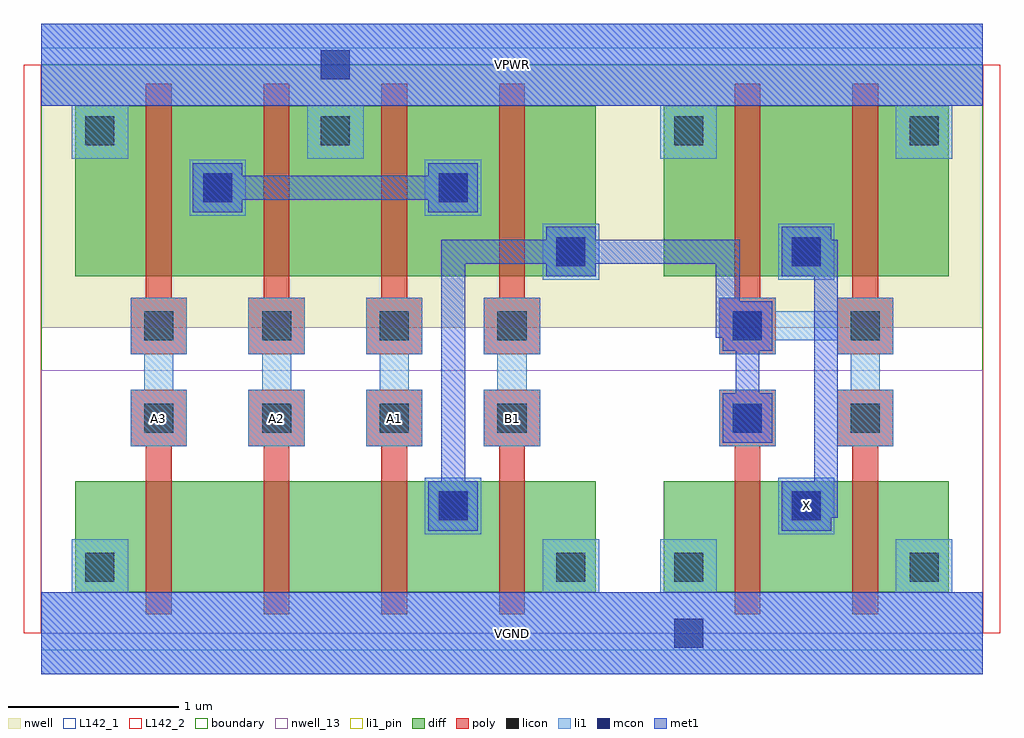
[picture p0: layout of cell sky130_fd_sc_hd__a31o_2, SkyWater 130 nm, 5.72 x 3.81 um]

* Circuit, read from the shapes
.subckt sky130_fd_sc_hd__a31o_2 A1 A2 A3 B1 VGND VPWR X
XM1 n1 A3 VGND VSUBS sky130_fd_pr__nfet_01v8 w=0.65 l=0.15
XM2 n2 A2 n1 VSUBS sky130_fd_pr__nfet_01v8 w=0.65 l=0.15
XM3 n3 A1 n2 VSUBS sky130_fd_pr__nfet_01v8 w=0.65 l=0.15
XM4 VGND B1 n3 VSUBS sky130_fd_pr__nfet_01v8 w=0.65 l=0.15
XM5 X n3 VGND VSUBS sky130_fd_pr__nfet_01v8 w=0.65 l=0.15 m=2
XM6 n4 A3 VPWR n5 sky130_fd_pr__pfet_01v8 w=1 l=0.15
XM7 VPWR A2 n4 n5 sky130_fd_pr__pfet_01v8 w=1 l=0.15
XM8 n4 A1 VPWR n5 sky130_fd_pr__pfet_01v8 w=1 l=0.15
XM9 n3 B1 n4 n5 sky130_fd_pr__pfet_01v8 w=1 l=0.15
XM10 X n3 VPWR n5 sky130_fd_pr__pfet_01v8 w=1 l=0.15 m=2
.ends

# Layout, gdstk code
import gdstk
lib = gdstk.Library(unit=1e-6, precision=1e-09)
def R(c, l, rs):  # rectangles x0, y0, x1, y1
    for r in rs: c.add(gdstk.rectangle(r[:2], r[2:], *l))
def A(c, l, x, y, w, h, nx, ny, dx, dy):  # array of equal rectangles
    R(c, l, [(x+i*dx, y+j*dy, x+i*dx+w, y+j*dy+h) for i in range(nx) for j in range(ny)])
def P(c, l, *ps):  # polygons
    for p in ps: c.add(gdstk.Polygon(p, *l))
nwell_13 = (64, 13)
nwell = (64, 20)
diff = (65, 20)
poly = (66, 20)
licon = (66, 44)
li1_pin = (67, 16)
li1 = (67, 20)
mcon = (67, 44)
met1 = (68, 20)
L142_1 = (142, 1)
L142_2 = (142, 2)
boundary = (235, 4)

sky130_fd_sc_hd__a31o_2 = lib.new_cell('sky130_fd_sc_hd__a31o_2')
R(sky130_fd_sc_hd__a31o_2, nwell_13, [(0,0,5.52,1.54)])
R(sky130_fd_sc_hd__a31o_2, nwell, [(0,1.79,5.52,3.33)])
A(sky130_fd_sc_hd__a31o_2, diff, 0.615, 0.24, 0.69, 0.65, 3, 1, 0.69, 0)
A(sky130_fd_sc_hd__a31o_2, diff, 0.615, 2.09, 0.69, 1, 3, 1, 0.69, 0)
R(sky130_fd_sc_hd__a31o_2, diff, [(0.2,0.24,3.25,0.89), (0.2,0.24,0.615,0.89), (2.685,0.24,3.25,0.89), (3.65,0.24,5.32,0.89), (3.65,0.24,4.065,0.89), (4.065,0.24,4.755,0.89), (4.755,0.24,5.32,0.89), (0.2,2.09,3.25,3.09), (0.2,2.09,0.615,3.09), (2.685,2.09,3.25,3.09), (3.65,2.09,5.32,3.09), (3.65,2.09,4.065,3.09), (4.065,2.09,4.755,3.09), (4.755,2.09,5.32,3.09)])
P(sky130_fd_sc_hd__a31o_2, poly, [(4.065,0.11),(4.065,1.095),(3.975,1.095),(3.975,1.425),(4.305,1.425),(4.305,1.095),(4.215,1.095),(4.215,0.11)],
  [(4.755,0.11),(4.755,1.095),(4.665,1.095),(4.665,1.425),(4.995,1.425),(4.995,1.095),(4.905,1.095),(4.905,0.11)],
  [(3.975,1.635),(3.975,1.965),(4.065,1.965),(4.065,3.22),(4.215,3.22),(4.215,1.965),(4.305,1.965),(4.305,1.635)],
  [(4.665,1.635),(4.665,1.965),(4.755,1.965),(4.755,3.22),(4.905,3.22),(4.905,1.965),(4.995,1.965),(4.995,1.635)],
  [(1.305,0.11),(1.305,1.095),(1.215,1.095),(1.215,1.425),(1.545,1.425),(1.545,1.095),(1.455,1.095),(1.455,0.11)],
  [(1.215,1.635),(1.215,1.965),(1.305,1.965),(1.305,3.22),(1.455,3.22),(1.455,1.965),(1.545,1.965),(1.545,1.635)],
  [(1.995,0.11),(1.995,1.095),(1.905,1.095),(1.905,1.425),(2.235,1.425),(2.235,1.095),(2.145,1.095),(2.145,0.11)],
  [(1.905,1.635),(1.905,1.965),(1.995,1.965),(1.995,3.22),(2.145,3.22),(2.145,1.965),(2.235,1.965),(2.235,1.635)],
  [(0.615,0.11),(0.615,1.095),(0.525,1.095),(0.525,1.425),(0.855,1.425),(0.855,1.095),(0.765,1.095),(0.765,0.11)],
  [(0.525,1.635),(0.525,1.965),(0.615,1.965),(0.615,3.22),(0.765,3.22),(0.765,1.965),(0.855,1.965),(0.855,1.635)],
  [(2.685,0.11),(2.685,1.095),(2.595,1.095),(2.595,1.425),(2.925,1.425),(2.925,1.095),(2.835,1.095),(2.835,0.11)],
  [(2.595,1.635),(2.595,1.965),(2.685,1.965),(2.685,3.22),(2.835,3.22),(2.835,1.965),(2.925,1.965),(2.925,1.635)])
A(sky130_fd_sc_hd__a31o_2, licon, 0.605, 1.175, 0.17, 0.17, 4, 2, 0.69, 0.54)
R(sky130_fd_sc_hd__a31o_2, licon, [(0.26,0.3,0.43,0.47), (3.02,0.3,3.19,0.47), (3.71,0.3,3.88,0.47), (5.09,0.3,5.26,0.47), (2.33,0.66,2.5,0.83), (4.4,0.66,4.57,0.83), (4.055,1.175,4.225,1.345), (4.745,1.175,4.915,1.345), (4.055,1.715,4.225,1.885), (4.745,1.715,4.915,1.885), (3.02,2.15,3.19,2.32), (4.4,2.15,4.57,2.32), (0.95,2.525,1.12,2.695), (2.33,2.525,2.5,2.695), (0.26,2.86,0.43,3.03), (1.64,2.86,1.81,3.03), (3.71,2.86,3.88,3.03), (5.09,2.86,5.26,3.03)])
R(sky130_fd_sc_hd__a31o_2, li1_pin, [(0,-0.24,5.52,0.24), (4.32,0.58,4.65,0.91), (0,3.09,5.52,3.57)])
P(sky130_fd_sc_hd__a31o_2, li1_pin, [(1.905,1.095),(1.905,1.425),(1.985,1.425),(1.985,1.635),(1.905,1.635),(1.905,1.965),(2.235,1.965),(2.235,1.635),(2.155,1.635),(2.155,1.425),(2.235,1.425),(2.235,1.095)],
  [(1.215,1.095),(1.215,1.425),(1.295,1.425),(1.295,1.635),(1.215,1.635),(1.215,1.965),(1.545,1.965),(1.545,1.635),(1.465,1.635),(1.465,1.425),(1.545,1.425),(1.545,1.095)],
  [(0.525,1.095),(0.525,1.425),(0.605,1.425),(0.605,1.635),(0.525,1.635),(0.525,1.965),(0.855,1.965),(0.855,1.635),(0.775,1.635),(0.775,1.425),(0.855,1.425),(0.855,1.095)],
  [(2.595,1.095),(2.595,1.425),(2.675,1.425),(2.675,1.635),(2.595,1.635),(2.595,1.965),(2.925,1.965),(2.925,1.635),(2.845,1.635),(2.845,1.425),(2.925,1.425),(2.925,1.095)])
R(sky130_fd_sc_hd__a31o_2, li1, [(2.25,0.58,2.58,0.91), (4.32,0.58,4.65,0.91), (3.975,1.095,4.305,1.425), (2.94,2.07,3.27,2.4), (4.32,2.07,4.65,2.4), (0.87,2.445,1.2,2.775), (2.25,2.445,2.58,2.775)])
P(sky130_fd_sc_hd__a31o_2, li1, [(4.665,1.095),(4.665,1.425),(4.745,1.425),(4.745,1.635),(4.665,1.635),(4.665,1.715),(4.305,1.715),(4.305,1.635),(3.975,1.635),(3.975,1.965),(4.305,1.965),(4.305,1.885),(4.665,1.885),(4.665,1.965),(4.995,1.965),(4.995,1.635),(4.915,1.635),(4.915,1.425),(4.995,1.425),(4.995,1.095)],
  [(1.215,1.095),(1.215,1.425),(1.295,1.425),(1.295,1.635),(1.215,1.635),(1.215,1.965),(1.545,1.965),(1.545,1.635),(1.465,1.635),(1.465,1.425),(1.545,1.425),(1.545,1.095)],
  [(0.18,2.78),(0.18,3.09),(0,3.09),(0,3.57),(5.52,3.57),(5.52,3.09),(5.34,3.09),(5.34,2.78),(5.01,2.78),(5.01,3.09),(3.96,3.09),(3.96,2.78),(3.63,2.78),(3.63,3.09),(1.89,3.09),(1.89,2.78),(1.56,2.78),(1.56,3.09),(0.51,3.09),(0.51,2.78)],
  [(1.905,1.095),(1.905,1.425),(1.985,1.425),(1.985,1.635),(1.905,1.635),(1.905,1.965),(2.235,1.965),(2.235,1.635),(2.155,1.635),(2.155,1.425),(2.235,1.425),(2.235,1.095)],
  [(0,-0.24),(0,0.24),(0.18,0.24),(0.18,0.55),(0.51,0.55),(0.51,0.24),(2.94,0.24),(2.94,0.55),(3.27,0.55),(3.27,0.24),(3.63,0.24),(3.63,0.55),(3.96,0.55),(3.96,0.24),(5.01,0.24),(5.01,0.55),(5.34,0.55),(5.34,0.24),(5.52,0.24),(5.52,-0.24)],
  [(0.525,1.095),(0.525,1.425),(0.605,1.425),(0.605,1.635),(0.525,1.635),(0.525,1.965),(0.855,1.965),(0.855,1.635),(0.775,1.635),(0.775,1.425),(0.855,1.425),(0.855,1.095)],
  [(2.595,1.095),(2.595,1.425),(2.675,1.425),(2.675,1.635),(2.595,1.635),(2.595,1.965),(2.925,1.965),(2.925,1.635),(2.845,1.635),(2.845,1.425),(2.925,1.425),(2.925,1.095)])
R(sky130_fd_sc_hd__a31o_2, mcon, [(3.71,-0.085,3.88,0.085), (2.33,0.66,2.5,0.83), (4.4,0.66,4.57,0.83), (4.055,1.175,4.225,1.345), (4.055,1.715,4.225,1.885), (3.02,2.15,3.19,2.32), (4.4,2.15,4.57,2.32), (0.95,2.525,1.12,2.695), (2.33,2.525,2.5,2.695), (1.64,3.245,1.81,3.415)])
R(sky130_fd_sc_hd__a31o_2, met1, [(0,-0.24,5.52,0.24), (0,3.09,5.52,3.57)])
P(sky130_fd_sc_hd__a31o_2, met1, [(2.27,0.6),(2.27,0.89),(2.345,0.89),(2.345,2.305),(2.96,2.305),(2.96,2.38),(3.25,2.38),(3.25,2.305),(4.095,2.305),(4.095,1.945),(4.285,1.945),(4.285,1.655),(4.21,1.655),(4.21,1.405),(4.285,1.405),(4.285,1.115),(3.995,1.115),(3.995,1.405),(4.07,1.405),(4.07,1.655),(3.995,1.655),(3.995,1.73),(3.955,1.73),(3.955,2.165),(3.25,2.165),(3.25,2.09),(2.96,2.09),(2.96,2.165),(2.485,2.165),(2.485,0.89),(2.56,0.89),(2.56,0.6)],
  [(0.89,2.465),(0.89,2.755),(1.18,2.755),(1.18,2.68),(2.27,2.68),(2.27,2.755),(2.56,2.755),(2.56,2.465),(2.27,2.465),(2.27,2.54),(1.18,2.54),(1.18,2.465)],
  [(4.34,0.6),(4.34,0.89),(4.53,0.89),(4.53,2.09),(4.34,2.09),(4.34,2.38),(4.63,2.38),(4.63,2.305),(4.67,2.305),(4.67,0.675),(4.63,0.675),(4.63,0.6)])
R(sky130_fd_sc_hd__a31o_2, L142_1, [(0,-0.1,5.52,0), (0,3.33,5.52,3.43)])
R(sky130_fd_sc_hd__a31o_2, L142_2, [(-0.1,0,0,3.33), (5.52,0,5.62,3.33)])
R(sky130_fd_sc_hd__a31o_2, boundary, [(0,0,5.52,3.33)])
sky130_fd_sc_hd__a31o_2.add(gdstk.Label('X', (4.485,0.745), layer=67, texttype=5))
sky130_fd_sc_hd__a31o_2.add(gdstk.Label('A1', (2.07,1.26), layer=67, texttype=5))
sky130_fd_sc_hd__a31o_2.add(gdstk.Label('A2', (1.38,1.26), layer=67, texttype=5))
sky130_fd_sc_hd__a31o_2.add(gdstk.Label('A3', (0.69,1.26), layer=67, texttype=5))
sky130_fd_sc_hd__a31o_2.add(gdstk.Label('B1', (2.76,1.26), layer=67, texttype=5))
sky130_fd_sc_hd__a31o_2.add(gdstk.Label('VGND', (2.76,0), layer=67, texttype=5))
sky130_fd_sc_hd__a31o_2.add(gdstk.Label('VPWR', (2.76,3.33), layer=67, texttype=5))
sky130_fd_sc_hd__a31o_2.add(gdstk.Label('VGND', (2.76,0), layer=68, texttype=5))
sky130_fd_sc_hd__a31o_2.add(gdstk.Label('VPWR', (2.76,3.33), layer=68, texttype=5))

lib.write_gds('sky130_fd_sc_hd__a31o_2.gds')
